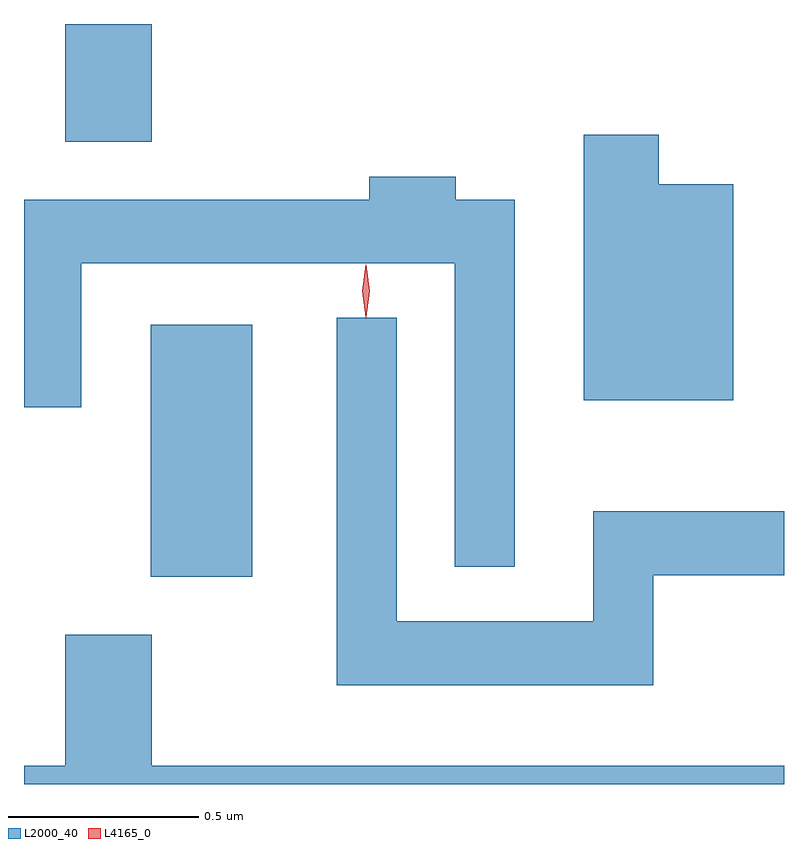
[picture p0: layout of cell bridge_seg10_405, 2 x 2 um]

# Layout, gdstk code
import gdstk
lib = gdstk.Library(unit=1e-6, precision=1e-09)
def R(c, l, rs):  # rectangles x0, y0, x1, y1
    for r in rs: c.add(gdstk.rectangle(r[:2], r[2:], *l))
def P(c, l, *ps):  # polygons
    for p in ps: c.add(gdstk.Polygon(p, *l))
L2000_40 = (2000, 40)
L4165_0 = (4165, 0)

bridge_seg10_405 = lib.new_cell('bridge_seg10_405')
R(bridge_seg10_405, L2000_40, [(1420.726,2105.801,1420.994,2106.464), (1420.501,2106.946,1420.729,2107.256)])
P(bridge_seg10_405, L2000_40, [(1422.259,2106.834),(1422.064,2106.834),(1422.064,2106.964),(1421.866,2106.964),(1421.866,2106.266),(1422.259,2106.266)],
  [(1421.684,2106.794),(1421.529,2106.794),(1421.529,2106.854),(1421.301,2106.854),(1421.301,2106.794),(1420.393,2106.794),(1420.393,2106.248),(1420.544,2106.248),(1420.544,2106.626),(1421.526,2106.626),(1421.526,2105.828),(1421.684,2105.828)],
  [(1422.049,2105.806),(1422.393,2105.806),(1422.393,2105.974),(1421.891,2105.974),(1421.891,2105.684),(1421.374,2105.684),(1421.374,2106.483),(1421.216,2106.483),(1421.216,2105.516),(1422.049,2105.516)],
  [(1422.393,2105.304),(1420.729,2105.304),(1420.729,2105.649),(1420.501,2105.649),(1420.501,2105.304),(1420.393,2105.304),(1420.393,2105.256),(1422.393,2105.256)])
P(bridge_seg10_405, L4165_0, [(1421.293,2106.483),(1421.292,2106.484),(1421.283,2106.553),(1421.292,2106.622),(1421.293,2106.623),(1421.293,2106.622),(1421.303,2106.553),(1421.293,2106.484)],
  [(1421.292,2106.487),(1421.283,2106.554),(1421.292,2106.62),(1421.293,2106.62),(1421.293,2106.62),(1421.303,2106.554),(1421.293,2106.487),(1421.293,2106.487)])

lib.write_gds('bridge_seg10_405.gds')
